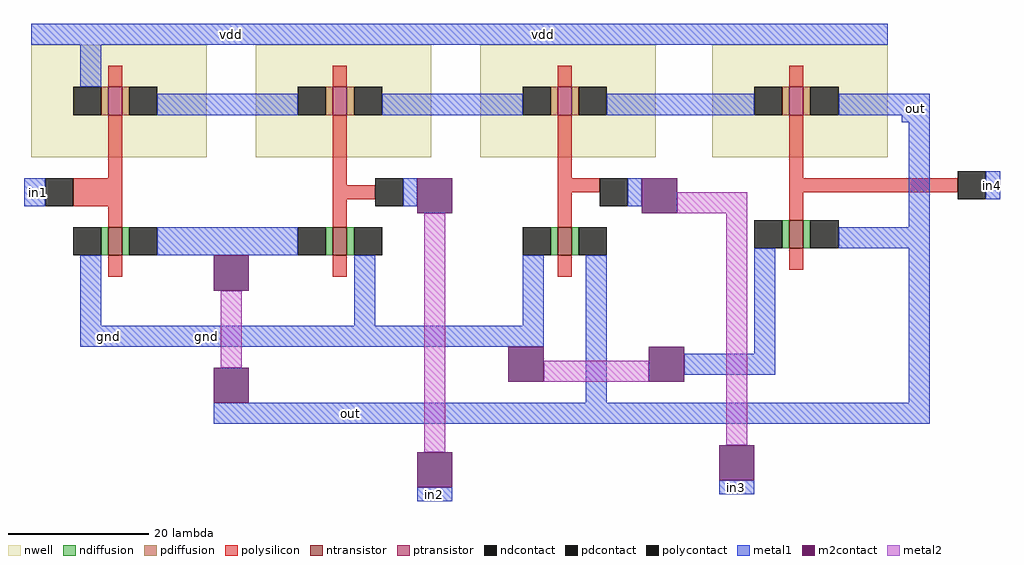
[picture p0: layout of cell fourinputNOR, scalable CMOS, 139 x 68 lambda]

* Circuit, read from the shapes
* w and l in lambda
.subckt fourinputNOR gnd in1 in2 in3 in4 out vdd
M1 out in1 gnd VSUBS nfet w=4 l=2
M2 gnd in2 out VSUBS nfet w=4 l=2
M3 out in3 gnd VSUBS nfet w=4 l=2
M4 out in4 gnd VSUBS nfet w=4 l=2
M5 n1 in1 vdd n2 pfet w=4 l=2
M6 n3 in2 n1 n4 pfet w=4 l=2
M7 n5 in3 n3 n6 pfet w=4 l=2
M8 out in4 n5 n7 pfet w=4 l=2
.ends

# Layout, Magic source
magic
tech scmos
<< nwell >>
rect 0 0 25 16
rect 32 0 57 16
rect 64 0 89 16
rect 97 0 122 16
<< ntransistor >>
rect 11 -14 13 -10
rect 43 -14 45 -10
rect 75 -14 77 -10
rect 108 -13 110 -9
<< ptransistor >>
rect 11 6 13 10
rect 43 6 45 10
rect 75 6 77 10
rect 108 6 110 10
<< ndiffusion >>
rect 10 -14 11 -10
rect 13 -14 14 -10
rect 42 -14 43 -10
rect 45 -14 46 -10
rect 74 -14 75 -10
rect 77 -14 78 -10
rect 107 -13 108 -9
rect 110 -13 111 -9
<< pdiffusion >>
rect 10 6 11 10
rect 13 6 14 10
rect 42 6 43 10
rect 45 6 46 10
rect 74 6 75 10
rect 77 6 78 10
rect 107 6 108 10
rect 110 6 111 10
<< ndcontact >>
rect 6 -14 10 -10
rect 14 -14 18 -10
rect 38 -14 42 -10
rect 46 -14 50 -10
rect 70 -14 74 -10
rect 78 -14 82 -10
rect 103 -13 107 -9
rect 111 -13 115 -9
<< pdcontact >>
rect 6 6 10 10
rect 14 6 18 10
rect 38 6 42 10
rect 46 6 50 10
rect 70 6 74 10
rect 78 6 82 10
rect 103 6 107 10
rect 111 6 115 10
<< polysilicon >>
rect 11 10 13 13
rect 43 10 45 13
rect 75 10 77 13
rect 108 10 110 13
rect 11 -3 13 6
rect 6 -7 13 -3
rect 11 -10 13 -7
rect 43 -4 45 6
rect 75 -3 77 6
rect 108 -3 110 6
rect 43 -6 49 -4
rect 43 -10 45 -6
rect 75 -5 81 -3
rect 75 -10 77 -5
rect 108 -5 132 -3
rect 108 -9 110 -5
rect 11 -17 13 -14
rect 43 -17 45 -14
rect 75 -17 77 -14
rect 108 -16 110 -13
<< polycontact >>
rect 2 -7 6 -3
rect 49 -7 53 -3
rect 81 -7 85 -3
rect 132 -6 136 -2
<< metal1 >>
rect 0 16 122 19
rect 7 10 10 16
rect 18 6 38 9
rect 50 6 70 9
rect 82 6 103 9
rect 115 6 128 9
rect 124 5 128 6
rect -1 -7 2 -3
rect 53 -7 55 -3
rect 85 -7 87 -3
rect 18 -14 38 -10
rect 7 -24 10 -14
rect 46 -24 49 -14
rect 70 -24 73 -14
rect 7 -27 73 -24
rect 79 -35 82 -14
rect 125 -10 128 5
rect 136 -6 138 -2
rect 115 -13 128 -10
rect 103 -28 106 -13
rect 93 -31 106 -28
rect 125 -35 128 -13
rect 26 -38 128 -35
rect 55 -49 60 -47
rect 98 -48 103 -46
<< m2contact >>
rect 55 -8 60 -3
rect 87 -8 92 -3
rect 26 -19 31 -14
rect 26 -35 31 -30
rect 68 -32 73 -27
rect 88 -32 93 -27
rect 55 -47 60 -42
rect 98 -46 103 -41
<< metal2 >>
rect 92 -8 102 -5
rect 27 -30 30 -19
rect 56 -42 59 -8
rect 73 -32 88 -29
rect 99 -41 102 -8
<< labels >>
rlabel metal1 0 16 57 19 5 vdd
rlabel metal1 0 -7 2 -3 3 in1
rlabel space 0 -27 50 -24 1 gnd
rlabel metal1 7 -27 49 -24 1 gnd
rlabel metal1 7 -27 15 -24 1 gnd
rlabel metal1 25 16 33 19 5 vdd
rlabel metal1 31 -38 60 -35 1 out
rlabel metal1 57 16 89 19 5 vdd
rlabel metal1 136 -6 138 -2 7 in4
rlabel metal1 55 -49 60 -47 1 in2
rlabel metal1 98 -48 103 -46 1 in3
rlabel metal1 124 5 128 9 1 out
<< end >>
